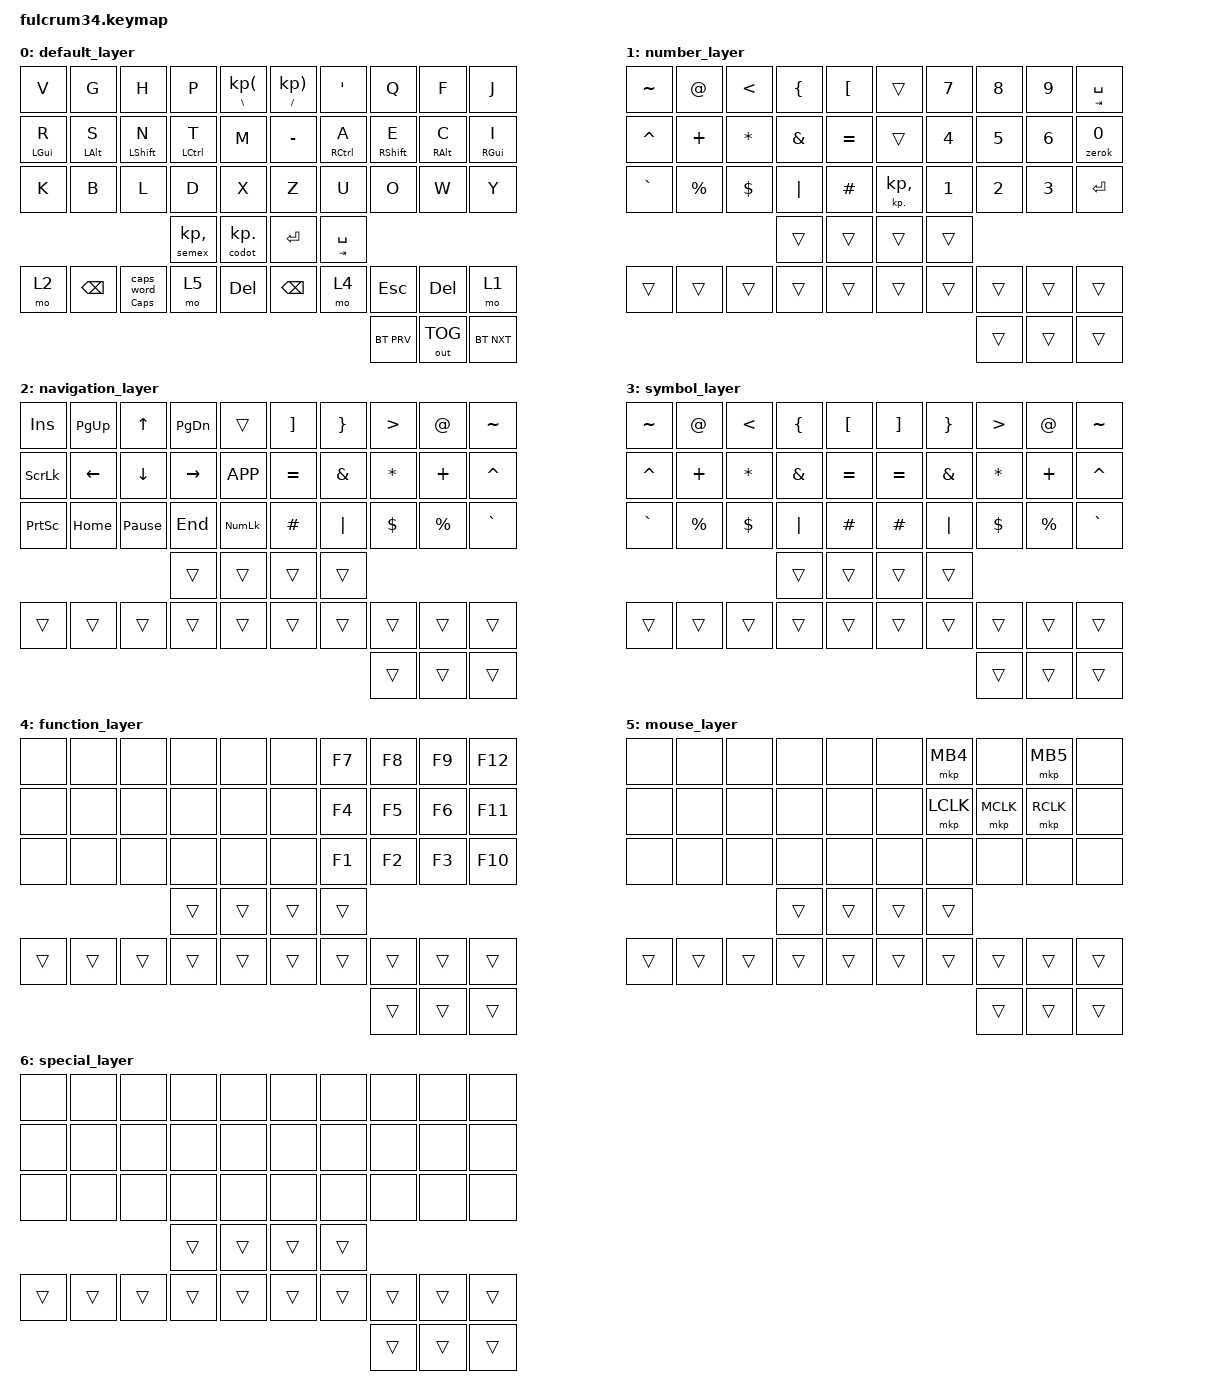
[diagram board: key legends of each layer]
/*
 * Copyright (c) 2020 The ZMK Contributors
 *
 * SPDX-License-Identifier: MIT
 */

#include <behaviors.dtsi>
#include <dt-bindings/zmk/keys.h>
#include <dt-bindings/zmk/bt.h>
#include <dt-bindings/zmk/outputs.h>
#include <dt-bindings/zmk/ext_power.h>
#include <dt-bindings/zmk/mouse.h>

#define DEFAULT 0
#define NUMBER 1
#define NAVIGATION 2
#define SYMBOL 3
#define FUNCTION 4
#define MOUSE 5
#define SPECIAL 6

/ {
    behaviors {
        hrml: balanced_homerow_mods_left {
            compatible = "zmk,behavior-hold-tap";
            #binding-cells = <2>;
            tapping-term-ms = <120>;
            quick-tap-ms = <0>;
			require-prior-idle-ms = <20>;
            hold-trigger-key-positions = <5 6 7 8 9>, <15 16 17 18 19>, <25 26 27 28 29>, <30 31 32 33>, <34 35 36 37 38 39 40 41 42 43>;
			hold-trigger-on-release;
            flavor = "balanced";
            bindings = <&kp &kp>;
        };
        hrmr: balanced_homerow_mods_right {
            compatible = "zmk,behavior-hold-tap";
            #binding-cells = <2>;
            tapping-term-ms = <120>;
            quick-tap-ms = <0>;
			require-prior-idle-ms = <20>;
            hold-trigger-key-positions = <0 1 2 3 4>, <10 11 12 13 14>, <20 21 22 23 24>, <30 31 32 33>, <34 35 36 37 38 39 40 41 42 43>;
			hold-trigger-on-release;
            flavor = "balanced";
            bindings = <&kp &kp>;
        };
        htm: holdtap_mods {
            compatible = "zmk,behavior-hold-tap";
            #binding-cells = <2>;
            tapping-term-ms = <120>;
            quick-tap-ms = <0>;
			require-prior-idle-ms = <20>;
            flavor = "balanced";
            bindings = <&kp &kp>;
        };
		shtm: semex_holdtap_mod {
            compatible = "zmk,behavior-hold-tap";
            #binding-cells = <2>;
            tapping-term-ms = <120>;
            quick-tap-ms = <0>;
			require-prior-idle-ms = <20>;
            flavor = "balanced";
            bindings = <&semex &kp>;
		};
		chtm: codot_holdtap_mod {
            compatible = "zmk,behavior-hold-tap";
            #binding-cells = <2>;
            tapping-term-ms = <120>;
            quick-tap-ms = <0>;
			require-prior-idle-ms = <20>;
            flavor = "balanced";
            bindings = <&codot &kp>;
		};
		semex: semex {
            compatible = "zmk,behavior-mod-morph";
            #binding-cells = <0>;
            bindings = <&kp SEMI &kp EXCL>;
            mods = <(MOD_LSFT|MOD_RSFT)>;
        };
		codot: codot {
            compatible = "zmk,behavior-mod-morph";
            #binding-cells = <0>;
            bindings = <&kp COLON &kp QMARK>;
            mods = <(MOD_LSFT|MOD_RSFT)>;
        };
        zhtm: zero_holdtap_mod {
            compatible = "zmk,behavior-hold-tap";
            #binding-cells = <2>;
            tapping-term-ms = <120>;
            quick-tap-ms = <0>;
			require-prior-idle-ms = <20>;
            flavor = "balanced";
            bindings = <&zerok &kp>;
		};
		caps: holdtap_capsword {
			compatible = "zmk,behavior-hold-tap";
			#binding-cells = <2>;
			tapping-term-ms = <120>;
			quick-tap-ms = <0>;
			require-prior-idle-ms = <20>;
			flavor = "balanced";
			bindings = <&kp &caps_word>;
		};
		caps_word: caps_word {
			compatible = "zmk,behavior-caps-word";
			#binding-cells = <0>;
			continue-list = <UNDERSCORE MINUS>;
		};
		mma: mod_morph_a {
            compatible = "zmk,behavior-mod-morph";
            #binding-cells = <0>;
            bindings = <&kp A &kp LS(A)>;
            mods = <(MOD_LSFT)>;
        };
		mmt: mod_morph_t {
            compatible = "zmk,behavior-mod-morph";
            #binding-cells = <0>;
            bindings = <&kp T &kp RS(T)>;
            mods = <(MOD_RSFT)>;
        };
    };
	
    combos {
        compatible = "zmk,combos";
		combo_symbol_layer {
            key-positions = <34 43>;
            bindings = <&mo 3>;
        };
		combo_special_layer {
            key-positions = <37 40>;
            bindings = <&mo 6>;
        };
        combo_and {
            timeout-ms = <40>;
            key-positions = <17 16>;
			layers = <0>;
			require-prior-idle-ms = <20>;
            bindings = <&macro_tap &mma &kp N &kp D>;
        };
        combo_the {
            timeout-ms = <40>;
            key-positions = <12 13>;
			layers = <0>;
			require-prior-idle-ms = <0>;
            bindings = <&macro_tap &mmt &kp H &kp E>;
        };
    };
	
	macros {
		zerok: zerok {
            compatible = "zmk,behavior-macro";
            #binding-cells = <0>;
            bindings = <&macro_tap &kp N0 &kp N0 &kp N0>;
        };
	};
	
        keymap {
                compatible = "zmk,keymap";

                default_layer {
// -----------------------------------------------------------------------------------------
// |   V  |   G  |   H  |   P  | htLB ||     || htRF | QUOT |   Q  |   F  |   J  |
// |htLG R|htLA S|htLS N|htLC T|   M  ||     || MINS |htRC A|htRS E|htRA C|htRG I|
// |   K  |   B  |   L  |   D  |   X  ||     ||   Z  |   U  |   O  |   W  |   Y  |
//                      |htSEC |htCQD ||     ||  RET | htTS |
// |  L2  | BSPC |  CW  |  L5  |  DEL ||     || BSPC |  L4  |  ESC |  DEL |  L1  |
//											 || BTPRV|OUTTOG| BTNXT|
                        bindings = <
   &kp V &kp G &kp H &kp P &htm BSLH KP_LPAR   &htm FSLH KP_RPAR &kp SQT &kp Q &kp F &kp J    
   &hrml LGUI R &hrml LALT S &hrml LSHFT N &hrml LCTRL T &kp M   &kp MINUS &hrmr RCTRL A &hrmr RSHFT E &hrmr RALT C &hrmr RGUI I 
   &kp K &kp B &kp L &kp D &kp X   &kp Z &kp U &kp O &kp W &kp Y 
                     &shtm 0 KP_COMMA &chtm 0 KP_DOT  &kp RET &htm TAB SPACE
   &mo 2 &kp BSPC &caps CAPS 0 &mo 5 &kp DEL    &kp BSPC &mo 4 &kp ESC &kp DEL &mo 1
												&bt BT_PRV &out OUT_TOG &bt BT_NXT 
                        >;
                };
                number_layer {
// -----------------------------------------------------------------------------------------
// |   ~  |   @  |   <  |   {  |   [  ||     ||      |   7  |   8  |   9  | htTS |
// |   ^  |   +  |   *  |   &  |   =  ||     ||      |   4  |   5  |   6  | ZhtM |
// |   `  |   %  |   $  |   |  |   #  ||     || htDC |   1  |   2  |   3  |  RET |
//                      |      |      ||     ||      |      |
// |      |      |      |      |      ||     ||      |      |      |      |      |
//											 ||      |      |      |
                        bindings = <
   &kp TILDE &kp AT &kp LT &kp LBRC &kp LBKT   &trans &kp N7 &kp N8 &kp N9 &htm TAB SPACE
   &kp CARET &kp PLUS &kp STAR &kp AMPS &kp EQUAL   &trans &kp N4 &kp N5 &kp N6 &zhtm 0 N0
   &kp GRAVE &kp PRCNT &kp DLLR &kp PIPE &kp HASH   &htm KP_DOT KP_COMMA &kp N1 &kp N2 &kp N3 &kp RET
                     &trans &trans   &trans &trans
   &trans &trans &trans &trans &trans    &trans &trans &trans &trans &trans
												&trans &trans &trans 
                        >;
                };
                navigation_layer {
// -----------------------------------------------------------------------------------------
// | INS  | PGUP |  UP  | PGDN |      ||     ||   ]  |   }  |   >  |   @  |   ~  |
// | SLCK |  LT  |  DN  |  RT  |  APP ||     ||   =  |   &  |   *  |   +  |   ^  |
// | PSCR | HOME |  PS  | END  | NLCK ||     ||   #  |   |  |   $  |   %  |   `  |
//                      |      |      ||     ||      |      |
// |      |      |      |      |      ||     ||      |      |      |      |      |
//											 ||      |      |      |
                        bindings = <
   &kp INS &kp PG_UP &kp UP &kp PG_DN &trans   &kp RBKT &kp RBRC &kp GT &kp AT &kp TILDE
   &kp SLCK &kp LEFT &kp DOWN &kp RIGHT &kp K_APP   &kp EQUAL &kp AMPS &kp STAR &kp PLUS &kp CARET
   &kp PSCRN &kp HOME &kp PAUSE_BREAK &kp END &kp KP_NUM    &kp HASH &kp PIPE &kp DLLR &kp PRCNT &kp GRAVE
                     &trans &trans   &trans &trans
   &trans &trans &trans &trans &trans    &trans &trans &trans &trans &trans
												&trans &trans &trans 
                        >;
                };
                symbol_layer {
// -----------------------------------------------------------------------------------------
// |   ~  |   @  |   <  |   {  |   [  ||     ||   ]  |   }  |   >  |   @  |   ~  |
// |   ^  |   +  |   *  |   &  |   =  ||     ||   =  |   &  |   *  |   +  |   ^  |
// |   `  |   %  |   $  |   |  |   #  ||     ||   #  |   |  |   $  |   %  |   `  |
//                      |      |      ||     ||      |      |
// |      |      |      |      |      ||     ||      |      |      |      |      |
//											 ||      |      |      |
                        bindings = <
   &kp TILDE &kp AT &kp LT &kp LBRC &kp LBKT   &kp RBKT &kp RBRC &kp GT &kp AT &kp TILDE
   &kp CARET &kp PLUS &kp STAR &kp AMPS &kp EQUAL   &kp EQUAL &kp AMPS &kp STAR &kp PLUS &kp CARET
   &kp GRAVE &kp PRCNT &kp DLLR &kp PIPE &kp HASH   &kp HASH &kp PIPE &kp DLLR &kp PRCNT &kp GRAVE
                     &trans &trans   &trans &trans
   &trans &trans &trans &trans &trans    &trans &trans &trans &trans &trans
												&trans &trans &trans 
                        >;
                };
                function_layer {
// -----------------------------------------------------------------------------------------
// |      |      |      |      |      ||     ||      |  F7  |  F8  |  F9  |  F12 |
// |      |      |      |      |      ||     ||      |  F4  |  F5  |  F6  |  F11 |
// |      |      |      |      |      ||     ||      |  F1  |  F2  |  F3  |  F10 |
//                      |      |      ||     ||      |      |
// |      |      |      |      |      ||     ||      |      |      |      |      |
//											 ||      |      |      |
                        bindings = <
   &none &none &none &none &none   &none &kp F7 &kp F8 &kp F9 &kp F12
   &none &none &none &none &none   &none &kp F4 &kp F5 &kp F6 &kp F11
   &none &none &none &none &none   &none &kp F1 &kp F2 &kp F3 &kp F10
                     &trans &trans   &trans &trans
   &trans &trans &trans &trans &trans    &trans &trans &trans &trans &trans
												&trans &trans &trans 
                        >;
                };
                mouse_layer {
// -----------------------------------------------------------------------------------------
// |      |      |      |      |      ||     ||      |  MB4 |      |  MB5 |      |
// |      |      |      |      |      ||     ||      | LCLK | MCLK | RCLK |      |
// |      |      |      |      |      ||     ||      |      |      |      |      |
//                      |      |      ||     ||      |      |
// |      |      |      |      |      ||     ||      |      |      |      |      |
//											 ||      |      |      |
                        bindings = <
   &none &none &none &none &none   &none &mkp MB4 &none &mkp MB5 &none
   &none &none &none &none &none   &none &mkp LCLK &mkp MCLK &mkp RCLK &none
   &none &none &none &none &none   &none &none &none &none &none
                     &trans &trans   &trans &trans
   &trans &trans &trans &trans &trans    &trans &trans &trans &trans &trans
												&trans &trans &trans 
                        >;
                };
                special_layer {
// -----------------------------------------------------------------------------------------
// |      |      |      |      |      ||     ||      |      |      |      |      |
// |      |      |      |      |      ||     ||      |      |      |      |      |
// |      |      |      |      |      ||     ||      |      |      |      |      |
//                      |      |      ||     ||      |      |
// |      |      |      |      |      ||     ||      |      |      |      |      |
//											 ||      |      |      |
                        bindings = <
   &none &none &none &none &none   &none &none &none &none &none
   &none &none &none &none &none   &none &none &none &none &none
   &none &none &none &none &none   &none &none &none &none &none
                     &trans &trans   &trans &trans
   &trans &trans &trans &trans &trans    &trans &trans &trans &trans &trans
												&trans &trans &trans 
                        >;
                };
        };
};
